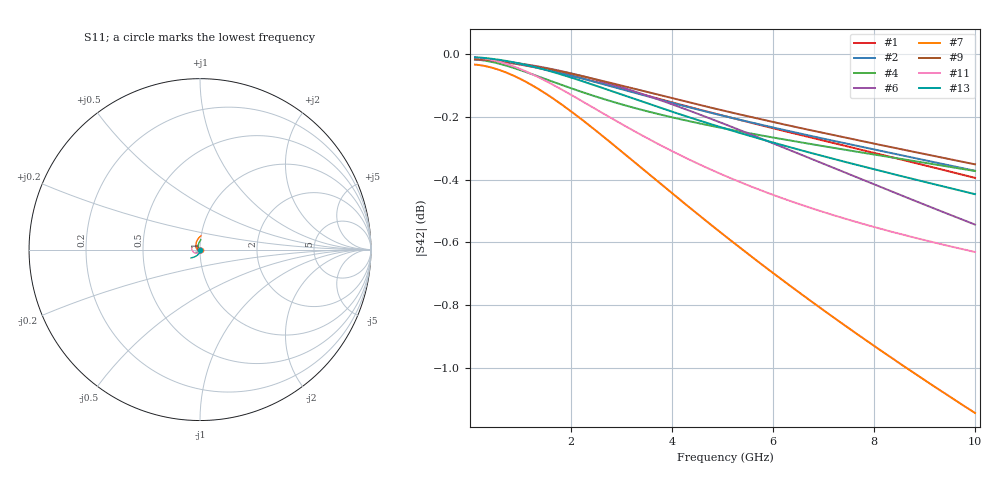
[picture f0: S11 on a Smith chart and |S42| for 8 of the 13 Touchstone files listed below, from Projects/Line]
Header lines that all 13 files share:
! TOUCHSTONE file generated by CST MICROWAVE STUDIO
# GHZ S MA R 50
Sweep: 100 MHz to 10 GHz
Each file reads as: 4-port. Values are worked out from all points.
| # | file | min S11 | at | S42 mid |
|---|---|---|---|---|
| 1 | Line_w15_s05_l0p5_pattern.s4p | -54.6 dB | 100 MHz | -0.2 dB at 5.05 GHz |
| 2 | Line_w15_s8.5_l0p5_pattern_splitline3.s4p | -54.0 dB | 100 MHz | -0.2 dB at 5.05 GHz |
| 3 | Line_w15_s8.5_l0p5_pattern_splitline4.s4p | -54.2 dB | 100 MHz | -0.2 dB at 5.05 GHz |
| 4 | Line_w15_s8.5_l0p5_rsi5.s4p | -60.7 dB | 822.7 MHz | -0.2 dB at 5.05 GHz |
| 5 | Line_w15_s8.5_l0p5_rsi10.s4p | -54.5 dB | 100 MHz | -0.3 dB at 5.05 GHz |
| 6 | Line_w15_s8.5_l0p5_rsi20.s4p | -54.4 dB | 100 MHz | -0.2 dB at 5.05 GHz |
| 7 | Line_w15_s8.5_l1.s4p | -48.7 dB | 802.9 MHz | -0.6 dB at 5.05 GHz |
| 8 | Line_w15_s10_l0p5.s4p | -54.7 dB | 100 MHz | -0.3 dB at 5.05 GHz |
| 9 | Line_w15_s10_l0p5_pattern.s4p | -54.7 dB | 100 MHz | -0.2 dB at 5.05 GHz |
| 10 | Line_w15_s15_l0p5.s4p | -55.8 dB | 842.5 MHz | -0.3 dB at 5.05 GHz |
| 11 | Line_w25_s10_l0p5.s4p | -55.6 dB | 100 MHz | -0.4 dB at 5.05 GHz |
| 12 | Line_w25_s15_l0p5.s4p | -55.8 dB | 100 MHz | -0.4 dB at 5.05 GHz |
| 13 | Line_w25_s15_l0p5_pattern.s4p | -55.6 dB | 100 MHz | -0.2 dB at 5.05 GHz |
